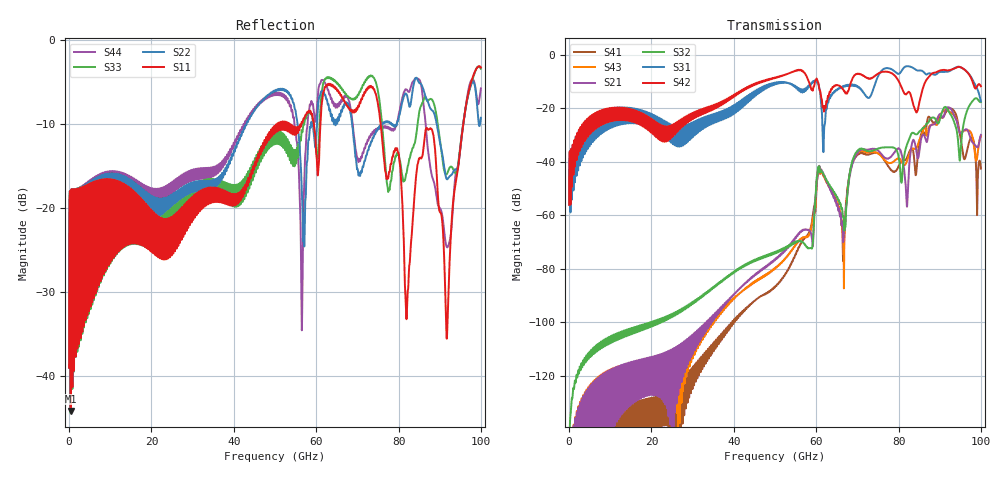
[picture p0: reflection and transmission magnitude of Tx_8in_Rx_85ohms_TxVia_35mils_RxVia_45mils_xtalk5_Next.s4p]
! Info: Touchstone file created by Circ.  Input file=Tx_8in_Rx_85ohms_TxVia_35mils_RxVia_45mils.circ
# Hz S RI R 50
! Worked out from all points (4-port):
!   10000 points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, 10 MHz to 100 GHz, reference 50 ohm
!   strongest paths, dB at 10 MHz, 25.01 GHz, 50.01 GHz, 75.01 GHz, 100 GHz:
!     S42: -56.0, -26.5, -8.4, -7.0, -11.7
!     S31: -56.0, -26.1, -10.3, -8.1, -17.3
!     S32: -162.2, -97.3, -74.3, -35.1, -17.6
!     S21: -175.5, -116.5, -76.8, -35.8, -29.9
!     S43: -175.4, -113.9, -80.1, -36.8, -30.4
!     S41: -180.6, -126.3, -86.9, -36.8, -42.5
!   lowest |S11| = -44.1 dB at 400 MHz (marker M1), VSWR 1.01, Z = 49.4 - j0.186 ohm
!   |S11| at or under -10 dB: start of sweep to 50.59 GHz; 53.43 GHz to 56.41 GHz (2.978 GHz wide, 5.42 % of centre); 75.67 GHz to 95.73 GHz (20.07 GHz wide, 23.4 % of centre) (the widest 3 of 11)
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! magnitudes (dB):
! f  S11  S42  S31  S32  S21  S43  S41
! 10 MHz  -39.0  -56.0  -56.0  -162.2  -175.5  -175.4  -180.6
! 400 MHz  -44.1  -41.4  -41.4  -134.2  -148.2  -148.1  -154.4
! 58.57 GHz  -8.4  -11.5  -11.2  -72.3  -66.1  -66.2  -65.3
! 60.76 GHz  -13.5  -12.9  -12.6  -41.7  -41.5  -42.0  -41.9
! 66.6 GHz  -7.1  -12.9  -11.9  -60.3  -69.7  -70.2  -76.8
! 91.75 GHz  -35.4  -5.7  -6.3  -20.0  -19.8  -20.5  -20.6
! 100 GHz  -3.3  -11.7  -17.3  -17.6  -29.9  -30.4  -42.5
